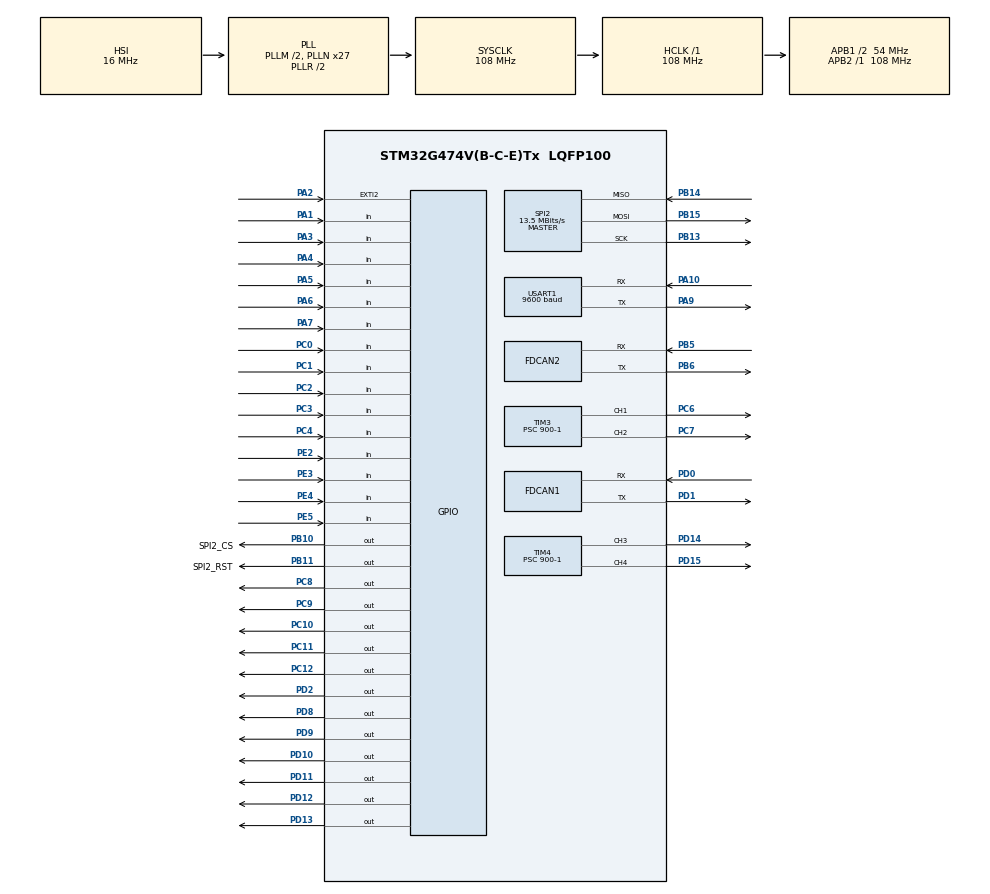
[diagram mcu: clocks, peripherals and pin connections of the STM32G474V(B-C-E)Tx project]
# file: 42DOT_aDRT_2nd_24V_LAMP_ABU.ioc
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FDCAN1.ExtFiltersNbr=1
FDCAN1.NominalPrescaler=12
FDCAN1.NominalTimeSeg1=15
FDCAN2.NominalPrescaler=6
FDCAN2.NominalTimeSeg1=15
FDCAN2.StdFiltersNbr=1
Mcu.Family=STM32G4
Mcu.Name=STM32G474V(B-C-E)Tx
Mcu.Package=LQFP100
NVIC.FDCAN1_IT0_IRQn=true\:0\:0\:false\:false\:true\:true\:true
NVIC.FDCAN2_IT0_IRQn=true\:0\:0\:false\:false\:true\:true\:true
NVIC.PriorityGroup=NVIC_PRIORITYGROUP_4
NVIC.RTC_WKUP_IRQn=true\:0\:0\:false\:false\:true\:true\:true
NVIC.SPI2_IRQn=true\:0\:0\:false\:false\:true\:true\:true
NVIC.TIM6_DAC_IRQn=true\:1\:0\:true\:false\:true\:true\:true
PA1.Signal=GPIO_Input
PA10.Mode=Asynchronous
PA10.Signal=USART1_RX
PA13.Mode=JTAG_4_pins
PA13.Signal=SYS_JTMS-SWDIO
PA14.Mode=JTAG_4_pins
PA14.Signal=SYS_JTCK-SWCLK
PA15.Mode=JTAG_4_pins
PA15.Signal=SYS_JTDI
PA2.GPIO_ModeDefaultEXTI=GPIO_MODE_EVT_RISING
PA2.Signal=GPXTI2
PA3.Signal=GPIO_Input
PA4.Signal=GPIO_Input
PA5.Signal=GPIO_Input
PA6.Signal=GPIO_Input
PA7.Signal=GPIO_Input
PA9.Mode=Asynchronous
PA9.Signal=USART1_TX
PB10.GPIO_Label=SPI2_CS
PB10.Signal=GPIO_Output
PB11.GPIO_Label=SPI2_RST
PB11.Signal=GPIO_Output
PB13.Mode=Full_Duplex_Master
PB13.Signal=SPI2_SCK
PB14.Mode=Full_Duplex_Master
PB14.Signal=SPI2_MISO
PB15.Mode=Full_Duplex_Master
PB15.Signal=SPI2_MOSI
PB3.Mode=JTAG_4_pins
PB3.Signal=SYS_JTDO-SWO
PB5.Mode=FDCAN_Activate
PB5.Signal=FDCAN2_RX
PB6.Mode=FDCAN_Activate
PB6.Signal=FDCAN2_TX
PC0.Signal=GPIO_Input
PC1.Signal=GPIO_Input
PC10.Signal=GPIO_Output
PC11.Signal=GPIO_Output
PC12.Signal=GPIO_Output
PC2.Signal=GPIO_Input
PC3.Signal=GPIO_Input
PC4.Signal=GPIO_Input
PC6.Signal=S_TIM3_CH1
PC7.Signal=S_TIM3_CH2
PC8.Signal=GPIO_Output
PC9.Signal=GPIO_Output
PD0.Mode=FDCAN_Activate
PD0.Signal=FDCAN1_RX
PD1.Mode=FDCAN_Activate
PD1.Signal=FDCAN1_TX
PD10.Signal=GPIO_Output
PD11.Signal=GPIO_Output
PD12.Signal=GPIO_Output
PD13.Signal=GPIO_Output
PD14.Signal=S_TIM4_CH3
PD15.Signal=S_TIM4_CH4
PD2.Signal=GPIO_Output
PD8.Signal=GPIO_Output
PD9.Signal=GPIO_Output
PE2.Signal=GPIO_Input
PE3.Signal=GPIO_Input
PE4.Signal=GPIO_Input
PE5.Signal=GPIO_Input
ProjectManager.HeapSize=0x200
ProjectManager.StackSize=0x400
ProjectManager.TargetToolchain=STM32CubeIDE
RCC.ADC12Freq_Value=108000000
RCC.ADC345Freq_Value=108000000
RCC.AHBFreq_Value=108000000
RCC.APB1CLKDivider=RCC_HCLK_DIV2
RCC.APB1Freq_Value=54000000
RCC.APB1TimFreq_Value=108000000
RCC.APB2Freq_Value=108000000
RCC.APB2TimFreq_Value=108000000
RCC.CortexFreq_Value=108000000
RCC.EXTERNAL_CLOCK_VALUE=12288000
RCC.HCLKFreq_Value=108000000
RCC.HSE_VALUE=8000000
RCC.HSI48_VALUE=48000000
RCC.HSI_VALUE=16000000
RCC.LSE_VALUE=32768
RCC.PLLM=RCC_PLLM_DIV2
RCC.PLLN=27
RCC.SYSCLKFreq_VALUE=108000000
RCC.SYSCLKSource=RCC_SYSCLKSOURCE_PLLCLK
RCC.USBFreq_Value=108000000
RCC.VCOOutputFreq_Value=216000000
SH.S_TIM3_CH1.0=TIM3_CH1,PWM Generation1 CH1
SH.S_TIM3_CH2.0=TIM3_CH2,PWM Generation2 CH2
SH.S_TIM4_CH3.0=TIM4_CH3,PWM Generation3 CH3
SH.S_TIM4_CH4.0=TIM4_CH4,PWM Generation4 CH4
SPI2.BaudRatePrescaler=SPI_BAUDRATEPRESCALER_4
SPI2.CLKPhase=SPI_PHASE_2EDGE
SPI2.CalculateBaudRate=13.5 MBits/s
SPI2.DataSize=SPI_DATASIZE_16BIT
SPI2.Direction=SPI_DIRECTION_2LINES
SPI2.Mode=SPI_MODE_MASTER
SPI2.VirtualType=VM_MASTER
TIM3.Channel-PWM\ Generation1\ CH1=TIM_CHANNEL_1
TIM3.Channel-PWM\ Generation2\ CH2=TIM_CHANNEL_2
TIM3.PeriodNoDither=1000-1
TIM3.Prescaler=900-1
TIM3.PulseNoDither_1=500
TIM3.PulseNoDither_2=700
TIM4.Channel-PWM\ Generation3\ CH3=TIM_CHANNEL_3
TIM4.Channel-PWM\ Generation4\ CH4=TIM_CHANNEL_4
TIM4.PeriodNoDither=1000-1
TIM4.Prescaler=900-1
TIM4.PulseNoDither_3=700
TIM4.PulseNoDither_4=500
TIM6.PeriodNoDither=200-1
TIM6.Prescaler=1080-1
USART1.BaudRate=9600
USART1.VirtualMode-Asynchronous=VM_ASYNC
VP_RTC_VS_RTC_Activate.Mode=RTC_Enabled
VP_RTC_VS_RTC_WakeUp_intern.Mode=WakeUp
VP_SYS_VS_DBSignals.Mode=DisableDeadBatterySignals
VP_TIM6_VS_ClockSourceINT.Mode=Enable_Timer
board=custom

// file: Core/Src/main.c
/* USER CODE BEGIN Header */
/**
  ******************************************************************************
  * @file           : main.c
  * @brief          : Main program body
  ******************************************************************************
  * @attention
  *
  * <h2><center>&copy; Copyright (c) 2021 STMicroelectronics.
  * All rights reserved.</center></h2>
  *
  * This software component is licensed by ST under BSD 3-Clause license,
  * the "License"; You may not use this file except in compliance with the
  * License. You may obtain a copy of the License at:
  *                        opensource.org/licenses/BSD-3-Clause
  *
  ******************************************************************************
  */
/* USER CODE END Header */
#include "main.h"

/* USER CODE BEGIN PD */
#define ADC_DUMMY               0
#define SPI_TIMEOUT_CNT			100

#define ADC_CH1_ENABLE			0xC0
#define ADC_CH2_ENABLE			0xC4
#define ADC_CH3_ENABLE			0xC8
#define ADC_CH4_ENABLE			0xCC

/* USER CODE END PD */

FDCAN_HandleTypeDef hfdcan1;
FDCAN_HandleTypeDef hfdcan2;

RTC_HandleTypeDef hrtc;

SPI_HandleTypeDef hspi2;

TIM_HandleTypeDef htim3;
TIM_HandleTypeDef htim4;
TIM_HandleTypeDef htim6;

UART_HandleTypeDef huart1;

/* USER CODE BEGIN PV */
FDCAN_FilterTypeDef can1_filter;
FDCAN_FilterTypeDef can2_filter;

uint8_t spi2_rx_data[8];
uint8_t spi2_tx_data[8];

/* USER CODE END PV */

void SystemClock_Config(void);
static void MX_GPIO_Init(void);
static void MX_TIM6_Init(void);
static void MX_TIM3_Init(void);
static void MX_SPI2_Init(void);
static void MX_TIM4_Init(void);
static void MX_RTC_Init(void);
static void MX_FDCAN1_Init(void);
static void MX_FDCAN2_Init(void);
static void MX_USART1_UART_Init(void);
/* USER CODE BEGIN PFP */
#ifdef debug
int _write(int file, char* p, int len)
{
	HAL_UART_Transmit(&huart1, p, len, 10);
	return len;
}
#endif

/* USER CODE END PFP */

/* USER CODE BEGIN 0 */
uint8_t torque_air_data[8];		// ? SSibal
/* USER CODE END 0 */

int main(void)
{

  /* MCU Configuration--------------------------------------------------------*/

  /* Reset of all peripherals, Initializes the Flash interface and the Systick. */
  HAL_Init();

  /* Configure the system clock */
  SystemClock_Config();

  /* Initialize all configured peripherals */
  MX_GPIO_Init();
  MX_TIM6_Init();
  MX_TIM3_Init();
  MX_SPI2_Init();
  MX_TIM4_Init();
  MX_RTC_Init();
  MX_FDCAN1_Init();
  MX_FDCAN2_Init();
  MX_USART1_UART_Init();
  /* USER CODE BEGIN 2 */
  HAL_GPIO_WritePin(GPIOB, GPIO_PIN_11, SET);		// SET /RST(ADC IC) 1 (Deactivate)

  HAL_TIM_Base_Start_IT(&htim6);
  /* USER CODE END 2 */

  /* Infinite loop */
  /* USER CODE BEGIN WHILE */
  while (1)
  {
	  if( stop_enable == 1 ) {
		  stop_enable = 0;
		  StopModeStart();
	  }
    /* USER CODE END WHILE */

  }
}

void SystemClock_Config(void)
{
  RCC_OscInitTypeDef RCC_OscInitStruct = {0};
  RCC_ClkInitTypeDef RCC_ClkInitStruct = {0};
  RCC_PeriphCLKInitTypeDef PeriphClkInit = {0};

  /** Configure the main internal regulator output voltage
  */
  HAL_PWREx_ControlVoltageScaling(PWR_REGULATOR_VOLTAGE_SCALE1);
  /** Initializes the RCC Oscillators according to the specified parameters
  * in the RCC_OscInitTypeDef structure.
  */
  RCC_OscInitStruct.OscillatorType = RCC_OSCILLATORTYPE_HSI|RCC_OSCILLATORTYPE_LSI;
  RCC_OscInitStruct.HSIState = RCC_HSI_ON;
  RCC_OscInitStruct.HSICalibrationValue = RCC_HSICALIBRATION_DEFAULT;
  RCC_OscInitStruct.LSIState = RCC_LSI_ON;
  RCC_OscInitStruct.PLL.PLLState = RCC_PLL_ON;
  RCC_OscInitStruct.PLL.PLLSource = RCC_PLLSOURCE_HSI;
  RCC_OscInitStruct.PLL.PLLM = RCC_PLLM_DIV2;
  RCC_OscInitStruct.PLL.PLLN = 27;
  RCC_OscInitStruct.PLL.PLLP = RCC_PLLP_DIV2;
  RCC_OscInitStruct.PLL.PLLQ = RCC_PLLQ_DIV2;
  RCC_OscInitStruct.PLL.PLLR = RCC_PLLR_DIV2;
  if (HAL_RCC_OscConfig(&RCC_OscInitStruct) != HAL_OK)
  {
    Error_Handler();
  }
  /** Initializes the CPU, AHB and APB buses clocks
  */
  RCC_ClkInitStruct.ClockType = RCC_CLOCKTYPE_HCLK|RCC_CLOCKTYPE_SYSCLK
                              |RCC_CLOCKTYPE_PCLK1|RCC_CLOCKTYPE_PCLK2;
  RCC_ClkInitStruct.SYSCLKSource = RCC_SYSCLKSOURCE_PLLCLK;
  RCC_ClkInitStruct.AHBCLKDivider = RCC_SYSCLK_DIV1;
  RCC_ClkInitStruct.APB1CLKDivider = RCC_HCLK_DIV2;
  RCC_ClkInitStruct.APB2CLKDivider = RCC_HCLK_DIV1;

  if (HAL_RCC_ClockConfig(&RCC_ClkInitStruct, FLASH_LATENCY_3) != HAL_OK)
  {
    Error_Handler();
  }
  /** Initializes the peripherals clocks
  */
  PeriphClkInit.PeriphClockSelection = RCC_PERIPHCLK_RTC|RCC_PERIPHCLK_USART1
                              |RCC_PERIPHCLK_FDCAN;
  PeriphClkInit.Usart1ClockSelection = RCC_USART1CLKSOURCE_PCLK2;
  PeriphClkInit.FdcanClockSelection = RCC_FDCANCLKSOURCE_PCLK1;
  PeriphClkInit.RTCClockSelection = RCC_RTCCLKSOURCE_LSI;
  if (HAL_RCCEx_PeriphCLKConfig(&PeriphClkInit) != HAL_OK)
  {
    Error_Handler();
  }
}

static void MX_FDCAN1_Init(void)
{

  hfdcan1.Instance = FDCAN1;
  hfdcan1.Init.ClockDivider = FDCAN_CLOCK_DIV1;
  hfdcan1.Init.FrameFormat = FDCAN_FRAME_CLASSIC;
  hfdcan1.Init.Mode = FDCAN_MODE_NORMAL;
  hfdcan1.Init.AutoRetransmission = DISABLE;
  hfdcan1.Init.TransmitPause = DISABLE;
  hfdcan1.Init.ProtocolException = DISABLE;
  hfdcan1.Init.NominalPrescaler = 12;
  hfdcan1.Init.NominalSyncJumpWidth = 1;
  hfdcan1.Init.NominalTimeSeg1 = 15;
  hfdcan1.Init.NominalTimeSeg2 = 2;
  hfdcan1.Init.DataPrescaler = 1;
  hfdcan1.Init.DataSyncJumpWidth = 1;
  hfdcan1.Init.DataTimeSeg1 = 1;
  hfdcan1.Init.DataTimeSeg2 = 1;
  hfdcan1.Init.StdFiltersNbr = 0;
  hfdcan1.Init.ExtFiltersNbr = 1;
  hfdcan1.Init.TxFifoQueueMode = FDCAN_TX_FIFO_OPERATION;
  if (HAL_FDCAN_Init(&hfdcan1) != HAL_OK)
  {
    Error_Handler();
  }
  /* USER CODE BEGIN FDCAN1_Init 2 */
  can1_filter.IdType = FDCAN_EXTENDED_ID;
  can1_filter.FilterType = FDCAN_FILTER_MASK;
  can1_filter.FilterIndex = 0;
  can1_filter.FilterID1 = 0x000;
  can1_filter.FilterID2 = 0x000;
  can1_filter.FilterConfig = FDCAN_FILTER_TO_RXFIFO0;

  if( HAL_FDCAN_ConfigFilter(&hfdcan1, &can1_filter) != HAL_OK ) {
	  Error_Handler();
  }

  if(HAL_FDCAN_ConfigGlobalFilter(&hfdcan1, FDCAN_REJECT, FDCAN_REJECT, FDCAN_FILTER_REMOTE, FDCAN_FILTER_REMOTE) != HAL_OK) {
	  Error_Handler();
  }

  if( HAL_FDCAN_ActivateNotification(&hfdcan1, FDCAN_IT_RX_FIFO0_NEW_MESSAGE, 0) != HAL_OK ) {
	  Error_Handler();
  }

  if( HAL_FDCAN_Start(&hfdcan1) != HAL_OK ) {
	  Error_Handler();
  }
  /* USER CODE END FDCAN1_Init 2 */

}

static void MX_FDCAN2_Init(void)
{

  hfdcan2.Instance = FDCAN2;
  hfdcan2.Init.FrameFormat = FDCAN_FRAME_CLASSIC;
  hfdcan2.Init.Mode = FDCAN_MODE_NORMAL;
  hfdcan2.Init.AutoRetransmission = DISABLE;
  hfdcan2.Init.TransmitPause = DISABLE;
  hfdcan2.Init.ProtocolException = DISABLE;
  hfdcan2.Init.NominalPrescaler = 6;
  hfdcan2.Init.NominalSyncJumpWidth = 1;
  hfdcan2.Init.NominalTimeSeg1 = 15;
  hfdcan2.Init.NominalTimeSeg2 = 2;
  hfdcan2.Init.DataPrescaler = 1;
  hfdcan2.Init.DataSyncJumpWidth = 1;
  hfdcan2.Init.DataTimeSeg1 = 1;
  hfdcan2.Init.DataTimeSeg2 = 1;
  hfdcan2.Init.StdFiltersNbr = 1;
  hfdcan2.Init.ExtFiltersNbr = 0;
  hfdcan2.Init.TxFifoQueueMode = FDCAN_TX_FIFO_OPERATION;
  if (HAL_FDCAN_Init(&hfdcan2) != HAL_OK)
  {
    Error_Handler();
  }
  /* USER CODE BEGIN FDCAN2_Init 2 */
  can2_filter.IdType = FDCAN_STANDARD_ID;
  can2_filter.FilterType = FDCAN_FILTER_MASK;
  can2_filter.FilterIndex = 0;
  can2_filter.FilterID1 = 0x000;
  can2_filter.FilterID2 = 0x000;
  can2_filter.FilterConfig = FDCAN_FILTER_TO_RXFIFO0;

  if( HAL_FDCAN_ConfigFilter(&hfdcan2, &can2_filter) != HAL_OK ) {
	  Error_Handler();
  }

  if(HAL_FDCAN_ConfigGlobalFilter(&hfdcan2, FDCAN_REJECT, FDCAN_REJECT, FDCAN_FILTER_REMOTE, FDCAN_FILTER_REMOTE) != HAL_OK) {
	  Error_Handler();
  }

  if( HAL_FDCAN_ActivateNotification(&hfdcan2, FDCAN_IT_RX_FIFO0_NEW_MESSAGE, 0) != HAL_OK ) {
	  Error_Handler();
  }

  if( HAL_FDCAN_Start(&hfdcan2) != HAL_OK ) {
	  Error_Handler();
  }
  /* USER CODE END FDCAN2_Init 2 */

}

static void MX_RTC_Init(void)
{

  /** Initialize RTC Only
  */
  hrtc.Instance = RTC;
  hrtc.Init.HourFormat = RTC_HOURFORMAT_24;
  hrtc.Init.AsynchPrediv = 127;
  hrtc.Init.SynchPrediv = 255;
  hrtc.Init.OutPut = RTC_OUTPUT_DISABLE;
  hrtc.Init.OutPutRemap = RTC_OUTPUT_REMAP_NONE;
  hrtc.Init.OutPutPolarity = RTC_OUTPUT_POLARITY_HIGH;
  hrtc.Init.OutPutType = RTC_OUTPUT_TYPE_OPENDRAIN;
  hrtc.Init.OutPutPullUp = RTC_OUTPUT_PULLUP_NONE;
  if (HAL_RTC_Init(&hrtc) != HAL_OK)
  {
    Error_Handler();
  }
  /** Enable the WakeUp
  */
  if (HAL_RTCEx_SetWakeUpTimer_IT(&hrtc, 0, RTC_WAKEUPCLOCK_RTCCLK_DIV16) != HAL_OK)
  {
    Error_Handler();
  }

}

static void MX_SPI2_Init(void)
{

  /* SPI2 parameter configuration*/
  hspi2.Instance = SPI2;
  hspi2.Init.Mode = SPI_MODE_MASTER;
  hspi2.Init.Direction = SPI_DIRECTION_2LINES;
  hspi2.Init.DataSize = SPI_DATASIZE_16BIT;
  hspi2.Init.CLKPolarity = SPI_POLARITY_LOW;
  hspi2.Init.CLKPhase = SPI_PHASE_2EDGE;
  hspi2.Init.NSS = SPI_NSS_SOFT;
  hspi2.Init.BaudRatePrescaler = SPI_BAUDRATEPRESCALER_4;
  hspi2.Init.FirstBit = SPI_FIRSTBIT_MSB;
  hspi2.Init.TIMode = SPI_TIMODE_DISABLE;
  hspi2.Init.CRCCalculation = SPI_CRCCALCULATION_DISABLE;
  hspi2.Init.CRCPolynomial = 7;
  hspi2.Init.CRCLength = SPI_CRC_LENGTH_DATASIZE;
  hspi2.Init.NSSPMode = SPI_NSS_PULSE_DISABLE;
  if (HAL_SPI_Init(&hspi2) != HAL_OK)
  {
    Error_Handler();
  }

}

static void MX_TIM3_Init(void)
{

  TIM_MasterConfigTypeDef sMasterConfig = {0};
  TIM_OC_InitTypeDef sConfigOC = {0};

  htim3.Instance = TIM3;
  htim3.Init.Prescaler = 900-1;
  htim3.Init.CounterMode = TIM_COUNTERMODE_UP;
  htim3.Init.Period = 999;
  htim3.Init.ClockDivision = TIM_CLOCKDIVISION_DIV1;
  htim3.Init.AutoReloadPreload = TIM_AUTORELOAD_PRELOAD_DISABLE;
  if (HAL_TIM_PWM_Init(&htim3) != HAL_OK)
  {
    Error_Handler();
  }
  sMasterConfig.MasterOutputTrigger = TIM_TRGO_RESET;
  sMasterConfig.MasterSlaveMode = TIM_MASTERSLAVEMODE_DISABLE;
  if (HAL_TIMEx_MasterConfigSynchronization(&htim3, &sMasterConfig) != HAL_OK)
  {
    Error_Handler();
  }
  sConfigOC.OCMode = TIM_OCMODE_PWM1;
  sConfigOC.Pulse = 500;
  sConfigOC.OCPolarity = TIM_OCPOLARITY_HIGH;
  sConfigOC.OCFastMode = TIM_OCFAST_DISABLE;
  if (HAL_TIM_PWM_ConfigChannel(&htim3, &sConfigOC, TIM_CHANNEL_1) != HAL_OK)
  {
    Error_Handler();
  }
  sConfigOC.Pulse = 700;
  if (HAL_TIM_PWM_ConfigChannel(&htim3, &sConfigOC, TIM_CHANNEL_2) != HAL_OK)
  {
    Error_Handler();
  }
  HAL_TIM_MspPostInit(&htim3);

}

static void MX_TIM4_Init(void)
{

  TIM_MasterConfigTypeDef sMasterConfig = {0};
  TIM_OC_InitTypeDef sConfigOC = {0};

  htim4.Instance = TIM4;
  htim4.Init.Prescaler = 900-1;
  htim4.Init.CounterMode = TIM_COUNTERMODE_UP;
  htim4.Init.Period = 999;
  htim4.Init.ClockDivision = TIM_CLOCKDIVISION_DIV1;
  htim4.Init.AutoReloadPreload = TIM_AUTORELOAD_PRELOAD_DISABLE;
  if (HAL_TIM_PWM_Init(&htim4) != HAL_OK)
  {
    Error_Handler();
  }
  sMasterConfig.MasterOutputTrigger = TIM_TRGO_RESET;
  sMasterConfig.MasterSlaveMode = TIM_MASTERSLAVEMODE_DISABLE;
  if (HAL_TIMEx_MasterConfigSynchronization(&htim4, &sMasterConfig) != HAL_OK)
  {
    Error_Handler();
  }
  sConfigOC.OCMode = TIM_OCMODE_PWM1;
  sConfigOC.Pulse = 700;
  sConfigOC.OCPolarity = TIM_OCPOLARITY_HIGH;
  sConfigOC.OCFastMode = TIM_OCFAST_DISABLE;
  if (HAL_TIM_PWM_ConfigChannel(&htim4, &sConfigOC, TIM_CHANNEL_3) != HAL_OK)
  {
    Error_Handler();
  }
  sConfigOC.Pulse = 500;
  if (HAL_TIM_PWM_ConfigChannel(&htim4, &sConfigOC, TIM_CHANNEL_4) != HAL_OK)
  {
    Error_Handler();
  }
  HAL_TIM_MspPostInit(&htim4);

}

static void MX_TIM6_Init(void)
{

  TIM_MasterConfigTypeDef sMasterConfig = {0};

  htim6.Instance = TIM6;
  htim6.Init.Prescaler = 1080-1;
  htim6.Init.CounterMode = TIM_COUNTERMODE_UP;
  htim6.Init.Period = 199;
  htim6.Init.AutoReloadPreload = TIM_AUTORELOAD_PRELOAD_DISABLE;
  if (HAL_TIM_Base_Init(&htim6) != HAL_OK)
  {
    Error_Handler();
  }
  sMasterConfig.MasterOutputTrigger = TIM_TRGO_RESET;
  sMasterConfig.MasterSlaveMode = TIM_MASTERSLAVEMODE_DISABLE;
  if (HAL_TIMEx_MasterConfigSynchronization(&htim6, &sMasterConfig) != HAL_OK)
  {
    Error_Handler();
  }

}

static void MX_USART1_UART_Init(void)
{

  huart1.Instance = USART1;
  huart1.Init.BaudRate = 9600;
  huart1.Init.WordLength = UART_WORDLENGTH_8B;
  huart1.Init.StopBits = UART_STOPBITS_1;
  huart1.Init.Parity = UART_PARITY_NONE;
  huart1.Init.Mode = UART_MODE_TX_RX;
  huart1.Init.HwFlowCtl = UART_HWCONTROL_NONE;
  huart1.Init.OverSampling = UART_OVERSAMPLING_16;
  huart1.Init.OneBitSampling = UART_ONE_BIT_SAMPLE_DISABLE;
  huart1.Init.ClockPrescaler = UART_PRESCALER_DIV1;
  huart1.AdvancedInit.AdvFeatureInit = UART_ADVFEATURE_NO_INIT;
  if (HAL_UART_Init(&huart1) != HAL_OK)
  {
    Error_Handler();
  }
  if (HAL_UARTEx_SetTxFifoThreshold(&huart1, UART_TXFIFO_THRESHOLD_1_8) != HAL_OK)
  {
    Error_Handler();
  }
  if (HAL_UARTEx_SetRxFifoThreshold(&huart1, UART_RXFIFO_THRESHOLD_1_8) != HAL_OK)
  {
    Error_Handler();
  }
  if (HAL_UARTEx_DisableFifoMode(&huart1) != HAL_OK)
  {
    Error_Handler();
  }

}

static void MX_GPIO_Init(void)
{
  GPIO_InitTypeDef GPIO_InitStruct = {0};

  /* GPIO Ports Clock Enable */
  __HAL_RCC_GPIOE_CLK_ENABLE();
  __HAL_RCC_GPIOC_CLK_ENABLE();
  __HAL_RCC_GPIOA_CLK_ENABLE();
  __HAL_RCC_GPIOB_CLK_ENABLE();
  __HAL_RCC_GPIOD_CLK_ENABLE();

  /*Configure GPIO pin Output Level */
  HAL_GPIO_WritePin(GPIOB, SPI2_CS_Pin|SPI2_RST_Pin, GPIO_PIN_RESET);

  /*Configure GPIO pin Output Level */
  HAL_GPIO_WritePin(GPIOD, GPIO_PIN_8|GPIO_PIN_9|GPIO_PIN_10|GPIO_PIN_11
                          |GPIO_PIN_12|GPIO_PIN_13|GPIO_PIN_2, GPIO_PIN_RESET);

  /*Configure GPIO pin Output Level */
  HAL_GPIO_WritePin(GPIOC, GPIO_PIN_8|GPIO_PIN_9|GPIO_PIN_10|GPIO_PIN_11
                          |GPIO_PIN_12, GPIO_PIN_RESET);

  /*Configure GPIO pins : PE2 PE3 PE4 PE5 */
  GPIO_InitStruct.Pin = GPIO_PIN_2|GPIO_PIN_3|GPIO_PIN_4|GPIO_PIN_5;
  GPIO_InitStruct.Mode = GPIO_MODE_INPUT;
  GPIO_InitStruct.Pull = GPIO_NOPULL;
  HAL_GPIO_Init(GPIOE, &GPIO_InitStruct);

  /*Configure GPIO pins : PC0 PC1 PC2 PC3
                           PC4 */
  GPIO_InitStruct.Pin = GPIO_PIN_0|GPIO_PIN_1|GPIO_PIN_2|GPIO_PIN_3
                          |GPIO_PIN_4;
  GPIO_InitStruct.Mode = GPIO_MODE_INPUT;
  GPIO_InitStruct.Pull = GPIO_NOPULL;
  HAL_GPIO_Init(GPIOC, &GPIO_InitStruct);

  /*Configure GPIO pins : PA1 PA3 PA4 PA5
                           PA6 PA7 */
  GPIO_InitStruct.Pin = GPIO_PIN_1|GPIO_PIN_3|GPIO_PIN_4|GPIO_PIN_5
                          |GPIO_PIN_6|GPIO_PIN_7;
  GPIO_InitStruct.Mode = GPIO_MODE_INPUT;
  GPIO_InitStruct.Pull = GPIO_NOPULL;
  HAL_GPIO_Init(GPIOA, &GPIO_InitStruct);

  /*Configure GPIO pin : PA2 */
  GPIO_InitStruct.Pin = GPIO_PIN_2;
  GPIO_InitStruct.Mode = GPIO_MODE_EVT_RISING;
  GPIO_InitStruct.Pull = GPIO_NOPULL;
  HAL_GPIO_Init(GPIOA, &GPIO_InitStruct);

  /*Configure GPIO pins : SPI2_CS_Pin SPI2_RST_Pin */
  GPIO_InitStruct.Pin = SPI2_CS_Pin|SPI2_RST_Pin;
  GPIO_InitStruct.Mode = GPIO_MODE_OUTPUT_PP;
  GPIO_InitStruct.Pull = GPIO_NOPULL;
  GPIO_InitStruct.Speed = GPIO_SPEED_FREQ_LOW;
  HAL_GPIO_Init(GPIOB, &GPIO_InitStruct);

  /*Configure GPIO pins : PD8 PD9 PD10 PD11
                           PD12 PD13 PD2 */
  GPIO_InitStruct.Pin = GPIO_PIN_8|GPIO_PIN_9|GPIO_PIN_10|GPIO_PIN_11
                          |GPIO_PIN_12|GPIO_PIN_13|GPIO_PIN_2;
  GPIO_InitStruct.Mode = GPIO_MODE_OUTPUT_PP;
  GPIO_InitStruct.Pull = GPIO_NOPULL;
  GPIO_InitStruct.Speed = GPIO_SPEED_FREQ_LOW;
  HAL_GPIO_Init(GPIOD, &GPIO_InitStruct);

  /*Configure GPIO pins : PC8 PC9 PC10 PC11
                           PC12 */
  GPIO_InitStruct.Pin = GPIO_PIN_8|GPIO_PIN_9|GPIO_PIN_10|GPIO_PIN_11
                          |GPIO_PIN_12;
  GPIO_InitStruct.Mode = GPIO_MODE_OUTPUT_PP;
  GPIO_InitStruct.Pull = GPIO_NOPULL;
  GPIO_InitStruct.Speed = GPIO_SPEED_FREQ_LOW;
  HAL_GPIO_Init(GPIOC, &GPIO_InitStruct);

}

/* USER CODE BEGIN 4 */
void CurrentDataReceive()
{
#if 0
	static uint8_t spi_cmd_num = 0;
	static float head_low_lamp_curr_f;
	static float stop_lamp_curr_f;
//	static float ch3_volt_f = 0;
//	static float ch4_volt_f = 0;

	if( ++spi_cmd_num == 1 ) {
		spi2_tx_data[0] = 0x00;
		spi2_tx_data[1] = ADC_CH1_ENABLE;			// CH1 Read
	} else if( spi_cmd_num == 2 ) {
		spi2_tx_data[0] = 0x00;
		spi2_tx_data[1] = ADC_CH2_ENABLE;			// CH2 Read
	}
//	else if( spi_cmd_num == 3 ) {
//		spi2_tx_data[0] = 0x00;
//		spi2_tx_data[1] = ADC_CH3_ENABLE;			// CH3 Read
//	} else if( spi_cmd_num == 4 ) {
//		spi2_tx_data[0] = 0x00;
//		spi2_tx_data[1] = ADC_CH4_ENABLE;			// CH4 Read
//	}

	HAL_GPIO_WritePin(GPIOB, GPIO_PIN_10, GPIO_PIN_RESET);		// SET /CS 0 (Active)
	HAL_SPI_TransmitReceive(&hspi2, spi2_tx_data, spi2_rx_data, 8, 100);
	HAL_GPIO_WritePin(GPIOB, GPIO_PIN_10, GPIO_PIN_SET);		// SET /CS 1 (Deactivate)

	/*
	 * 0V = 0x7FFD(32765), 5V = 0xB3B0(46000)
	 */
	if( spi_cmd_num == 1 ) {
		stop_lamp_curr_f = (spi2_rx_data[2]) | (spi2_rx_data[3]<<8);
		stop_lamp_curr_f = (stop_lamp_curr_f-32765) / 13235 * 5 * 1000;
	} else if( spi_cmd_num == 2 ) {
		spi_cmd_num = 0;
		head_low_lamp_curr_f = (spi2_rx_data[2]) | (spi2_rx_data[3]<<8);
		head_low_lamp_curr_f = (head_low_lamp_curr_f-32765) / 13235 * 5 * 1000;
	}
//	else if( spi_cmd_num == 3 ) {
//		ch2_volt_f = (spi2_rx_data[2]) | (spi2_rx_data[3]<<8);
//		ch2_volt_f = (ch2_volt_f-32765) / 13235 * 5 * 1000;
//	} else if( spi_cmd_num == 4 ) {
//		spi_cmd_num = 0;
//		ch3_volt_f = (spi2_rx_data[2]) | (spi2_rx_data[3]<<8);
//		ch3_volt_f = (ch3_volt_f-32765) / 13235 * 5 * 1000;
//	}

	head_low_lamp_curr = (uint16_t)head_low_lamp_curr_f;
	stop_lamp_curr = (uint16_t)stop_lamp_curr_f;
#else
	float head_low_lamp_curr_f;
	float stop_lamp_curr_f;
	float distant_volt_curr_f;
	float sun_volt_curr_f;

	spi2_tx_data[0] = ADC_DUMMY;
	spi2_tx_data[1] = ADC_CH1_ENABLE;			// CH1 Read //조도센서.

	HAL_GPIO_WritePin(GPIOB, GPIO_PIN_10, GPIO_PIN_RESET);		// SET /CS 0 (Active)
	HAL_SPI_TransmitReceive(&hspi2, spi2_tx_data, spi2_rx_data, 8, 100);
	HAL_GPIO_WritePin(GPIOB, GPIO_PIN_10, GPIO_PIN_SET);		// SET /CS 1 (Deactivate)

	sun_volt_curr_f = (spi2_rx_data[2]) | (spi2_rx_data[3]<<8);
	sun_volt_curr_f = (sun_volt_curr_f-32765) / 13235 * 5 * 1000;

	spi2_tx_data[0] = ADC_DUMMY;
	spi2_tx_data[1] = ADC_CH2_ENABLE;			// CH2 Read

	HAL_GPIO_WritePin(GPIOB, GPIO_PIN_10, GPIO_PIN_RESET);		// SET /CS 0 (Active)
	HAL_SPI_TransmitReceive(&hspi2, spi2_tx_data, spi2_rx_data, 8, 100);
	HAL_GPIO_WritePin(GPIOB, GPIO_PIN_10, GPIO_PIN_SET);		// SET /CS 1 (Deactivate)

	head_low_lamp_curr_f = (spi2_rx_data[2]) | (spi2_rx_data[3]<<8);
	head_low_lamp_curr_f = (head_low_lamp_curr_f-32765) / 13235 * 5 * 1000;

	spi2_tx_data[0] = ADC_DUMMY;
	spi2_tx_data[1] = ADC_CH3_ENABLE;			// CH3 Read

	HAL_GPIO_WritePin(GPIOB, GPIO_PIN_10, GPIO_PIN_RESET);		// SET /CS 0 (Active)
	HAL_SPI_TransmitReceive(&hspi2, spi2_tx_data, spi2_rx_data, 8, 100);
	HAL_GPIO_WritePin(GPIOB, GPIO_PIN_10, GPIO_PIN_SET);		// SET /CS 1 (Deactivate)

	stop_lamp_curr_f = (spi2_rx_data[2]) | (spi2_rx_data[3]<<8);
	stop_lamp_curr_f = (stop_lamp_curr_f-32765) / 13235 * 5 * 1000;

	spi2_tx_data[0] = ADC_DUMMY;
	spi2_tx_data[1] = ADC_CH4_ENABLE;			// CH4 Read

	HAL_GPIO_WritePin(GPIOB, GPIO_PIN_10, GPIO_PIN_RESET);		// SET /CS 0 (Active)
	HAL_SPI_TransmitReceive(&hspi2, spi2_tx_data, spi2_rx_data, 8, 100);
	HAL_GPIO_WritePin(GPIOB, GPIO_PIN_10, GPIO_PIN_SET);		// SET /CS 1 (Deactivate)

	distant_volt_curr_f = (spi2_rx_data[2]) | (spi2_rx_data[3]<<8);
	distant_volt_curr_f = (distant_volt_curr_f-32765) / 13235 * 5 * 1000;

	head_low_lamp_curr = (uint16_t)head_low_lamp_curr_f;
	stop_lamp_curr = (uint16_t)stop_lamp_curr_f;
	distant_volt = (uint16_t)distant_volt_curr_f;
	sun_volt = (uint16_t)sun_volt_curr_f;

	if( headlamp_low_on == 1 ) {
		if( head_low_lamp_curr < 1000 ) {
			if( ++head_low_lamp_fail_cnt > 16 ) {
//				head_low_lamp_fail = 1;
			}
		} else {
			head_low_lamp_fail = 0;
		}
	} else if( headlamp_low_on == 0 ) {
		head_low_lamp_fail = head_low_lamp_fail_cnt = 0;
	}

	if( Lamp_Status.stop_lamp == 1 ) {
		if( stop_lamp_curr < 1000 ) {
			if( ++stop_lamp_fail_cnt > 16 ) {
//				stop_lamp_fail = 1;
			}
		} else {
			stop_lamp_fail = 0;
		}
	} else if( Lamp_Status.stop_lamp == 0 ) {
		stop_lamp_fail = stop_lamp_fail_cnt = 0;
	}
#endif
}

void StopModeStart()
{
	HAL_SuspendTick();

	__HAL_RCC_PWR_CLK_ENABLE();

	/* Enable the WakeUp
	   32768 / 16 = 2048Hz
	   1Hz = 0.00048828125 sec
	   10sec = 20,480Hz (0x5000)
	 */
//	HAL_RTCEx_SetWakeUpTimer_IT(&hrtc, 0xF000, RTC_WAKEUPCLOCK_RTCCLK_DIV16);
	HAL_RTCEx_SetWakeUpTimer_IT(&hrtc, 0xCC, RTC_WAKEUPCLOCK_RTCCLK_DIV16);

	HAL_PWR_EnterSTOPMode(0, PWR_SLEEPENTRY_WFE);

	HAL_ResumeTick();

	HAL_RTCEx_DeactivateWakeUpTimer(&hrtc);

	SystemClock_Config();
}
/* USER CODE END 4 */

void Error_Handler(void)
{
  /* USER CODE BEGIN Error_Handler_Debug */
  /* User can add his own implementation to report the HAL error return state */
  __disable_irq();
//  SCB->AIRCR = SCB_AIRCR_VECTKEY_Msk | 0x04;
  NVIC_SystemReset();
  while (1)
  {
  }
  /* USER CODE END Error_Handler_Debug */
}

/************************ (C) COPYRIGHT STMicroelectronics *****END OF FILE****/
